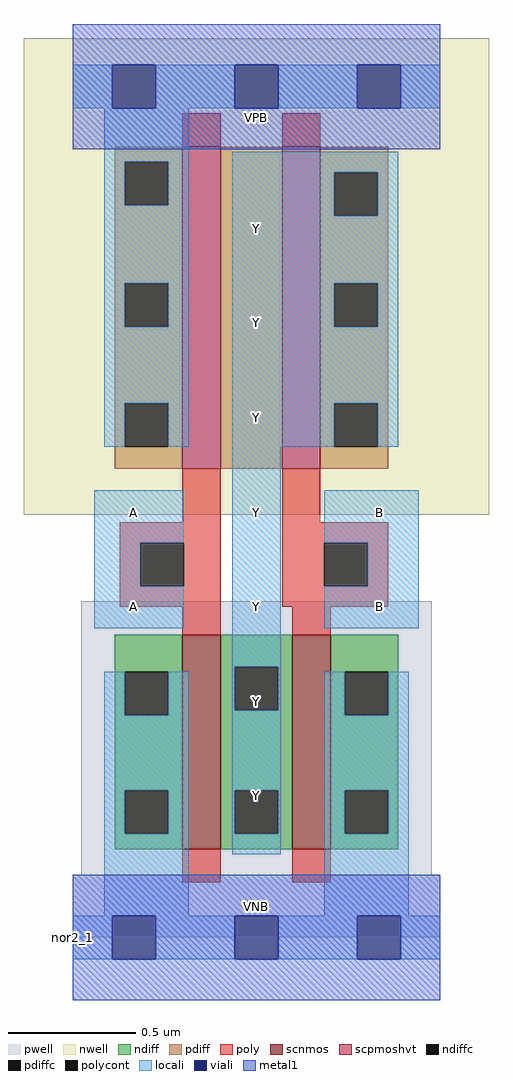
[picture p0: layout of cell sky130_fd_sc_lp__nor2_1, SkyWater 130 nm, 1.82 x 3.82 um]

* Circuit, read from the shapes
.subckt sky130_fd_sc_lp__nor2_1 A B VGND VNB VPB VPWR Y
XM1 Y A VGND VNB sky130_fd_pr__nfet_01v8 w=0.84 l=0.15
XM2 VGND B Y VNB sky130_fd_pr__nfet_01v8 w=0.84 l=0.15
XM3 n1 A VPWR VPB sky130_fd_pr__pfet_01v8_hvt w=1.26 l=0.15
XM4 Y B n1 VPB sky130_fd_pr__pfet_01v8_hvt w=1.26 l=0.15
.ends

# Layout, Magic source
magic
tech sky130A
magscale 1 2
<< nwell >>
rect -38 331 326 704
<< pwell >>
rect 7 49 281 263
rect 0 0 288 49
<< scnmos >>
rect 86 69 116 237
rect 172 69 202 237
<< scpmoshvt >>
rect 86 367 116 619
rect 164 367 194 619
<< ndiff >>
rect 33 208 86 237
rect 33 174 41 208
rect 75 174 86 208
rect 33 115 86 174
rect 33 81 41 115
rect 75 81 86 115
rect 33 69 86 81
rect 116 212 172 237
rect 116 178 127 212
rect 161 178 172 212
rect 116 115 172 178
rect 116 81 127 115
rect 161 81 172 115
rect 116 69 172 81
rect 202 208 255 237
rect 202 174 213 208
rect 247 174 255 208
rect 202 115 255 174
rect 202 81 213 115
rect 247 81 255 115
rect 202 69 255 81
<< pdiff >>
rect 33 607 86 619
rect 33 573 41 607
rect 75 573 86 607
rect 33 512 86 573
rect 33 478 41 512
rect 75 478 86 512
rect 33 418 86 478
rect 33 384 41 418
rect 75 384 86 418
rect 33 367 86 384
rect 116 367 164 619
rect 194 599 247 619
rect 194 565 205 599
rect 239 565 247 599
rect 194 512 247 565
rect 194 478 205 512
rect 239 478 247 512
rect 194 418 247 478
rect 194 384 205 418
rect 239 384 247 418
rect 194 367 247 384
<< ndiffc >>
rect 41 174 75 208
rect 41 81 75 115
rect 127 178 161 212
rect 127 81 161 115
rect 213 174 247 208
rect 213 81 247 115
<< pdiffc >>
rect 41 573 75 607
rect 41 478 75 512
rect 41 384 75 418
rect 205 565 239 599
rect 205 478 239 512
rect 205 384 239 418
<< poly >>
rect 86 619 116 645
rect 164 619 194 645
rect 86 325 116 367
rect 37 309 116 325
rect 37 275 53 309
rect 87 275 116 309
rect 37 259 116 275
rect 164 325 194 367
rect 164 309 247 325
rect 164 275 197 309
rect 231 275 247 309
rect 164 259 247 275
rect 86 237 116 259
rect 172 237 202 259
rect 86 43 116 69
rect 172 43 202 69
<< polycont >>
rect 53 275 87 309
rect 197 275 231 309
<< locali >>
rect 0 649 31 683
rect 65 649 127 683
rect 161 649 223 683
rect 257 649 288 683
rect 25 607 91 649
rect 25 573 41 607
rect 75 573 91 607
rect 25 512 91 573
rect 25 478 41 512
rect 75 478 91 512
rect 25 418 91 478
rect 25 384 41 418
rect 75 384 91 418
rect 125 599 255 615
rect 125 565 205 599
rect 239 565 255 599
rect 125 512 255 565
rect 125 478 205 512
rect 239 478 255 512
rect 125 418 255 478
rect 125 384 205 418
rect 239 384 255 418
rect 17 309 87 350
rect 17 275 53 309
rect 17 242 87 275
rect 125 212 163 384
rect 197 309 271 350
rect 231 275 271 309
rect 197 242 271 275
rect 25 174 41 208
rect 75 174 91 208
rect 25 115 91 174
rect 25 81 41 115
rect 75 81 91 115
rect 25 17 91 81
rect 125 178 127 212
rect 161 178 163 212
rect 125 115 163 178
rect 125 81 127 115
rect 161 81 163 115
rect 125 65 163 81
rect 197 174 213 208
rect 247 174 263 208
rect 197 115 263 174
rect 197 81 213 115
rect 247 81 263 115
rect 197 17 263 81
rect 0 -17 31 17
rect 65 -17 127 17
rect 161 -17 223 17
rect 257 -17 288 17
<< viali >>
rect 31 649 65 683
rect 127 649 161 683
rect 223 649 257 683
rect 31 -17 65 17
rect 127 -17 161 17
rect 223 -17 257 17
<< metal1 >>
rect 0 683 288 715
rect 0 649 31 683
rect 65 649 127 683
rect 161 649 223 683
rect 257 649 288 683
rect 0 617 288 649
rect 0 17 288 49
rect 0 -17 31 17
rect 65 -17 127 17
rect 161 -17 223 17
rect 257 -17 288 17
rect 0 -49 288 -17
<< labels >>
flabel pwell s 0 0 288 49 0 FreeSans 200 0 0 0 VNB
port 4 nsew ground bidirectional
flabel nwell s 0 617 288 666 0 FreeSans 200 0 0 0 VPB
port 5 nsew power bidirectional
rlabel comment s 0 0 0 0 4 nor2_1
flabel metal1 s 0 617 288 666 0 FreeSans 340 0 0 0 VPWR
port 6 nsew power bidirectional
flabel metal1 s 0 0 288 49 0 FreeSans 340 0 0 0 VGND
port 3 nsew ground bidirectional
flabel locali s 31 242 65 276 0 FreeSans 340 0 0 0 A
port 1 nsew signal input
flabel locali s 31 316 65 350 0 FreeSans 340 0 0 0 A
port 1 nsew signal input
flabel locali s 127 94 161 128 0 FreeSans 340 0 0 0 Y
port 7 nsew signal output
flabel locali s 127 168 161 202 0 FreeSans 340 0 0 0 Y
port 7 nsew signal output
flabel locali s 127 242 161 276 0 FreeSans 340 0 0 0 Y
port 7 nsew signal output
flabel locali s 127 316 161 350 0 FreeSans 340 0 0 0 Y
port 7 nsew signal output
flabel locali s 127 390 161 424 0 FreeSans 340 0 0 0 Y
port 7 nsew signal output
flabel locali s 127 464 161 498 0 FreeSans 340 0 0 0 Y
port 7 nsew signal output
flabel locali s 127 538 161 572 0 FreeSans 340 0 0 0 Y
port 7 nsew signal output
flabel locali s 223 242 257 276 0 FreeSans 340 0 0 0 B
port 2 nsew signal input
flabel locali s 223 316 257 350 0 FreeSans 340 0 0 0 B
port 2 nsew signal input
<< properties >>
string LEFsite unit
string LEFclass CORE
string FIXED_BBOX 0 0 288 666
string GDS_FILE $PDKPATH/libs.ref/sky130_fd_sc_lp/gds/sky130_fd_sc_lp.gds
string LEFsymmetry X Y R90
string GDS_END 5220030
string GDS_START 5215432
<< end >>
